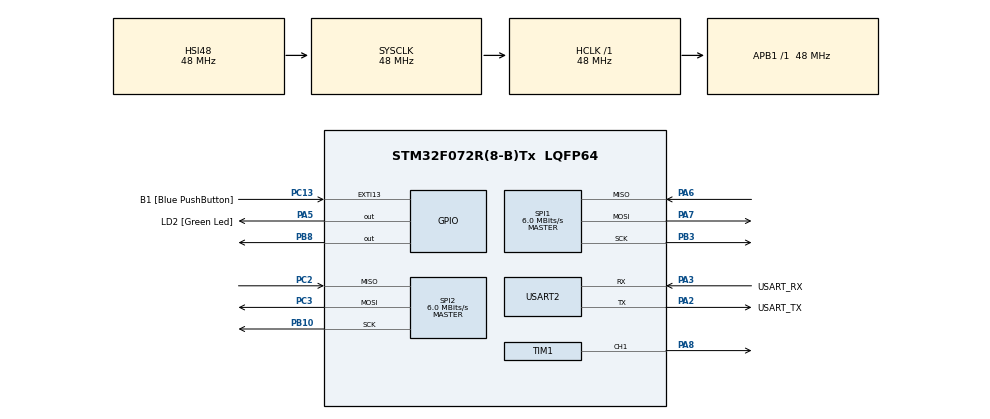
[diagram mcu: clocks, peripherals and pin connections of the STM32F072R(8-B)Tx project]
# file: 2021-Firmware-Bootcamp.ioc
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Mcu.Family=STM32F0
Mcu.Name=STM32F072R(8-B)Tx
Mcu.Package=LQFP64
PA13.GPIO_Label=TMS
PA13.Mode=Serial_Wire
PA13.Signal=SYS_SWDIO
PA14.GPIO_Label=TCK
PA14.Mode=Serial_Wire
PA14.Signal=SYS_SWCLK
PA2.GPIO_Label=USART_TX
PA2.GPIO_Mode=GPIO_MODE_AF_PP
PA2.GPIO_PuPd=GPIO_NOPULL
PA2.GPIO_Speed=GPIO_SPEED_FREQ_LOW
PA2.Mode=Asynchronous
PA2.Signal=USART2_TX
PA3.GPIO_Label=USART_RX
PA3.GPIO_Mode=GPIO_MODE_AF_PP
PA3.GPIO_PuPd=GPIO_NOPULL
PA3.GPIO_Speed=GPIO_SPEED_FREQ_LOW
PA3.Mode=Asynchronous
PA3.Signal=USART2_RX
PA5.GPIO_Label=LD2 [Green Led]
PA5.GPIO_Mode=GPIO_MODE_OUTPUT_PP
PA5.GPIO_PuPd=GPIO_NOPULL
PA5.GPIO_Speed=GPIO_SPEED_FREQ_LOW
PA5.Signal=GPIO_Output
PA6.Mode=Full_Duplex_Master
PA6.Signal=SPI1_MISO
PA7.Mode=Full_Duplex_Master
PA7.Signal=SPI1_MOSI
PA8.Signal=S_TIM1_CH1
PB10.Mode=Full_Duplex_Master
PB10.Signal=SPI2_SCK
PB3.Mode=Full_Duplex_Master
PB3.Signal=SPI1_SCK
PB8.Signal=GPIO_Output
PC13.GPIO_Label=B1 [Blue PushButton]
PC13.GPIO_ModeDefaultEXTI=GPIO_MODE_IT_FALLING
PC13.Signal=GPXTI13
PC14-OSC32_IN.Mode=LSE-External-Oscillator
PC14-OSC32_IN.Signal=RCC_OSC32_IN
PC15-OSC32_OUT.Mode=LSE-External-Oscillator
PC15-OSC32_OUT.Signal=RCC_OSC32_OUT
PC2.Mode=Full_Duplex_Master
PC2.Signal=SPI2_MISO
PC3.Mode=Full_Duplex_Master
PC3.Signal=SPI2_MOSI
PF0-OSC_IN.Mode=HSE-External-Clock-Source
PF0-OSC_IN.Signal=RCC_OSC_IN
PF1-OSC_OUT.Signal=RCC_OSC_OUT
ProjectManager.HeapSize=0x200
ProjectManager.StackSize=0x400
ProjectManager.TargetToolchain=STM32CubeIDE
RCC.AHBFreq_Value=48000000
RCC.APB1Freq_Value=48000000
RCC.APB1TimFreq_Value=48000000
RCC.FLatency-AdvancedSettings=FLASH_LATENCY_1
RCC.HCLKFreq_Value=48000000
RCC.PLLDivider=RCC_PREDIV_DIV2
RCC.PLLMUL=RCC_PLL_MUL12
RCC.PREFETCH_ENABLE-AdvancedSettings=1
RCC.SYSCLKFreq_VALUE=48000000
RCC.SYSCLKSource=RCC_SYSCLKSOURCE_HSI48
SH.S_TIM1_CH1.0=TIM1_CH1,PWM Generation1 CH1
SPI1.BaudRatePrescaler=SPI_BAUDRATEPRESCALER_8
SPI1.CLKPolarity=SPI_POLARITY_LOW
SPI1.CalculateBaudRate=6.0 MBits/s
SPI1.DataSize=SPI_DATASIZE_8BIT
SPI1.Direction=SPI_DIRECTION_2LINES
SPI1.Mode=SPI_MODE_MASTER
SPI1.VirtualType=VM_MASTER
SPI2.BaudRatePrescaler=SPI_BAUDRATEPRESCALER_8
SPI2.CalculateBaudRate=6.0 MBits/s
SPI2.DataSize=SPI_DATASIZE_8BIT
SPI2.Direction=SPI_DIRECTION_2LINES
SPI2.Mode=SPI_MODE_MASTER
SPI2.VirtualType=VM_MASTER
TIM1.Channel-PWM\ Generation1\ CH1=TIM_CHANNEL_1
TIM1.Period=5999
TIM1.Prescaler=9
USART2.VirtualMode=VM_ASYNC
USART2.VirtualMode-Asynchronous=VM_ASYNC
VP_TIM1_VS_ClockSourceINT.Mode=Internal
board=NUCLEO-F072RB

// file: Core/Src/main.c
/* USER CODE BEGIN Header */
/**
  ******************************************************************************
  * @file           : main.c
  * @brief          : Main program body
  ******************************************************************************
  * @attention
  *
  * <h2><center>&copy; Copyright (c) 2021 STMicroelectronics.
  * All rights reserved.</center></h2>
  *
  * This software component is licensed by ST under BSD 3-Clause license,
  * the "License"; You may not use this file except in compliance with the
  * License. You may obtain a copy of the License at:
  *                        opensource.org/licenses/BSD-3-Clause
  *
  ******************************************************************************
  */
/* USER CODE END Header */
#include "main.h"
#include "spi.h"
#include "tim.h"
#include "usart.h"
#include "gpio.h"

/* USER CODE BEGIN PTD */

	SPI_HandleTypeDef hspi1;

/* USER CODE END PTD */

void SystemClock_Config(void);

int main(void)
{
  /* USER CODE BEGIN 1 */

	//Length -   Timing -

	//Initialize the SPI handle structure
	hspi1.Instance = SPI1;
	hspi1.Init.Mode = SPI_MODE_MASTER;
	hspi1.Init.Direction = SPI_DIRECTION_2LINES;
	hspi1.Init.DataSize = SPI_DATASIZE_8BIT;
	hspi1.Init.CLKPolarity = SPI_POLARITY_LOW;
	hspi1.Init.CLKPhase = SPI_PHASE_1EDGE;
	hspi1.Init.NSS = SPI_NSS_SOFT;
	hspi1.Init.BaudRatePrescaler = SPI_BAUDRATEPRESCALER_2;
	hspi1.Init.FirstBit = SPI_FIRSTBIT_MSB;
	hspi1.Init.TIMode = SPI_TIMODE_DISABLE;
	hspi1.Init.CRCCalculation = SPI_CRCCALCULATION_DISABLE;
	hspi1.Init.CRCPolynomial = 7;

	//Initialize the SPI peripheral
	HAL_SPI_Init(&hspi1);

	// Transmit and receive data over the SPI interface
	uint8_t tx_data[3];
	tx_data[0] = 0b00000001;
	tx_data[1] = 0b1000000;
	tx_data[2] = 0b00000000;

	uint8_t rx_data[3];

	// Call the HAL_SPI_TransmitReceive function
	//a pointer to the SPI handle, a pointer to the transmit data buffer, a pointer to the receive data buffer, the size of the data, and the timeout value.
	HAL_StatusTypeDef result = HAL_SPI_TransmitReceive(&hspi1,txData,rxData,3,100);

	// Check the return value of the function for success or failure
	if (result == HAL_OK) {
        // The transmit and receive was successful
        // Do something with the received data
    } else {
        // The transmit and receive failed
        // Handle the error
    }

  /* USER CODE END 1 */

  /* MCU Configuration--------------------------------------------------------*/

  /* Reset of all peripherals, Initializes the Flash interface and the Systick. */
  HAL_Init();

  /* Configure the system clock */
  SystemClock_Config();

  /* Initialize all configured peripherals */
  MX_GPIO_Init();
  MX_USART2_UART_Init();
  MX_SPI1_Init();
  MX_SPI2_Init();
  MX_TIM1_Init();

  /* Infinite loop */
  /* USER CODE BEGIN WHILE */
  while (1)
  {
	HAL_Delay(10);
    /* USER CODE END WHILE */

  }
}

void SystemClock_Config(void)
{
  RCC_OscInitTypeDef RCC_OscInitStruct = {0};
  RCC_ClkInitTypeDef RCC_ClkInitStruct = {0};
  RCC_PeriphCLKInitTypeDef PeriphClkInit = {0};

  /** Initializes the RCC Oscillators according to the specified parameters
  * in the RCC_OscInitTypeDef structure.
  */
  RCC_OscInitStruct.OscillatorType = RCC_OSCILLATORTYPE_HSI48;
  RCC_OscInitStruct.HSI48State = RCC_HSI48_ON;
  RCC_OscInitStruct.PLL.PLLState = RCC_PLL_NONE;
  if (HAL_RCC_OscConfig(&RCC_OscInitStruct) != HAL_OK)
  {
    Error_Handler();
  }
  /** Initializes the CPU, AHB and APB buses clocks
  */
  RCC_ClkInitStruct.ClockType = RCC_CLOCKTYPE_HCLK|RCC_CLOCKTYPE_SYSCLK
                              |RCC_CLOCKTYPE_PCLK1;
  RCC_ClkInitStruct.SYSCLKSource = RCC_SYSCLKSOURCE_HSI48;
  RCC_ClkInitStruct.AHBCLKDivider = RCC_SYSCLK_DIV1;
  RCC_ClkInitStruct.APB1CLKDivider = RCC_HCLK_DIV1;

  if (HAL_RCC_ClockConfig(&RCC_ClkInitStruct, FLASH_LATENCY_1) != HAL_OK)
  {
    Error_Handler();
  }
  PeriphClkInit.PeriphClockSelection = RCC_PERIPHCLK_USART2;
  PeriphClkInit.Usart2ClockSelection = RCC_USART2CLKSOURCE_PCLK1;
  if (HAL_RCCEx_PeriphCLKConfig(&PeriphClkInit) != HAL_OK)
  {
    Error_Handler();
  }
}

void Error_Handler(void)
{
  __disable_irq();
  while (1)
  {
  }
}

/************************ (C) COPYRIGHT STMicroelectronics *****END OF FILE****/
